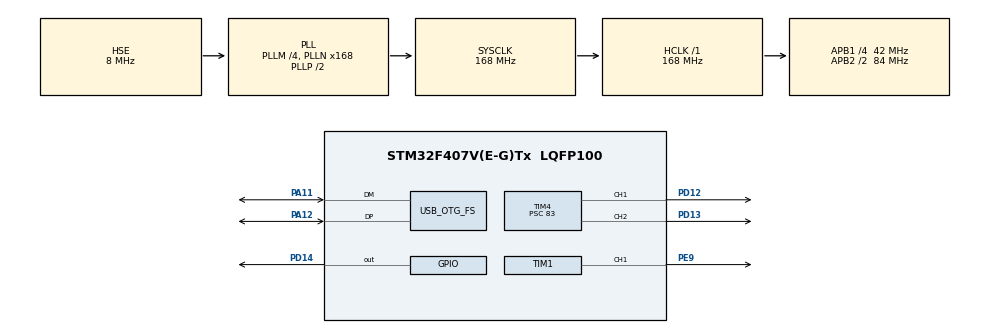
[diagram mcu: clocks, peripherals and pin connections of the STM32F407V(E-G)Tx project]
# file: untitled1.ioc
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Mcu.Family=STM32F4
Mcu.Name=STM32F407V(E-G)Tx
Mcu.Package=LQFP100
NVIC.OTG_FS_IRQn=true\:0\:0\:false\:false\:true\:false\:true
NVIC.PriorityGroup=NVIC_PRIORITYGROUP_4
PA11.Mode=Device_Only
PA11.Signal=USB_OTG_FS_DM
PA12.Mode=Device_Only
PA12.Signal=USB_OTG_FS_DP
PD12.GPIO_Speed=GPIO_SPEED_FREQ_LOW
PD12.Signal=S_TIM4_CH1
PD13.Signal=S_TIM4_CH2
PD14.GPIO_PuPd=GPIO_PULLUP
PD14.Signal=GPIO_Output
PE9.GPIO_Speed=GPIO_SPEED_FREQ_HIGH
PE9.Signal=S_TIM1_CH1
PH0-OSC_IN.Mode=HSE-External-Oscillator
PH0-OSC_IN.Signal=RCC_OSC_IN
PH1-OSC_OUT.Mode=HSE-External-Oscillator
PH1-OSC_OUT.Signal=RCC_OSC_OUT
ProjectManager.HeapSize=0x200
ProjectManager.StackSize=0x400
ProjectManager.TargetToolchain=SW4STM32
RCC.48MHZClocksFreq_Value=48000000
RCC.AHBFreq_Value=168000000
RCC.APB1CLKDivider=RCC_HCLK_DIV4
RCC.APB1Freq_Value=42000000
RCC.APB1TimFreq_Value=84000000
RCC.APB2CLKDivider=RCC_HCLK_DIV2
RCC.APB2Freq_Value=84000000
RCC.APB2TimFreq_Value=168000000
RCC.CortexFreq_Value=168000000
RCC.HCLKFreq_Value=168000000
RCC.HSE_VALUE=8000000
RCC.HSI_VALUE=16000000
RCC.LSE_VALUE=32768
RCC.PLLM=4
RCC.PLLN=168
RCC.PLLQ=7
RCC.SYSCLKFreq_VALUE=168000000
RCC.SYSCLKSource=RCC_SYSCLKSOURCE_PLLCLK
RCC.VCOOutputFreq_Value=336000000
SH.S_TIM1_CH1.0=TIM1_CH1,PWM Generation1 CH1
SH.S_TIM4_CH1.0=TIM4_CH1,PWM Generation1 CH1
SH.S_TIM4_CH2.0=TIM4_CH2,PWM Generation2 CH2
TIM1.Channel-PWM\ Generation1\ CH1=TIM_CHANNEL_1
TIM1.Period=65535
TIM4.Channel-PWM\ Generation1\ CH1=TIM_CHANNEL_1
TIM4.Channel-PWM\ Generation2\ CH2=TIM_CHANNEL_2
TIM4.Period=19999
TIM4.Prescaler=83
USB_DEVICE.APP_RX_DATA_SIZE-CDC_FS=64
USB_DEVICE.APP_TX_DATA_SIZE-CDC_FS=64
USB_DEVICE.CLASS_NAME_FS=CDC
USB_DEVICE.VirtualMode-CDC_FS=Cdc
USB_DEVICE.VirtualModeFS=Cdc_FS
USB_OTG_FS.VirtualMode=Device_Only
VP_TIM1_VS_ClockSourceINT.Mode=Internal
VP_TIM4_VS_ClockSourceINT.Mode=Internal
VP_USB_DEVICE_VS_USB_DEVICE_CDC_FS.Mode=CDC_FS
board=custom

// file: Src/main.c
/* USER CODE BEGIN Header */
/**
  ******************************************************************************
  * @file           : main.c
  * @brief          : Main program body
  ******************************************************************************
  * @attention
  *
  * <h2><center>&copy; Copyright (c) 2019 STMicroelectronics.
  * All rights reserved.</center></h2>
  *
  * This software component is licensed by ST under Ultimate Liberty license
  * SLA0044, the "License"; You may not use this file except in compliance with
  * the License. You may obtain a copy of the License at:
  *                             www.st.com/SLA0044
  *
  ******************************************************************************
  */
/* USER CODE END Header */

#include "main.h"
#include "usb_device.h"

/* USER CODE BEGIN Includes */
#include "usbd_cdc_if.h"
/* USER CODE END Includes */

TIM_HandleTypeDef htim1;
TIM_HandleTypeDef htim4;

/* USER CODE BEGIN PV */
uint8_t data_rx[8];
/* USER CODE END PV */

void SystemClock_Config(void);
static void MX_GPIO_Init(void);
static void MX_TIM1_Init(void);
static void MX_TIM4_Init(void);

/* USER CODE BEGIN 0 */
int st_min = 1068 + 1;
int st_max = 1775 - 1;
int st_mid = 1415;
int th_min = 1232 + 1;
int th_max = 1735 - 1;
int th_mid = 1512; //rev minimum 29%; fwd minimum 4%
int waiting = 0;

void fwd(float persent, double plavn)
{
    int znach = (th_mid + (th_max - th_mid) * persent);
    if (plavn == 0)
    {
        TIM4->CCR1 = znach;
    }
    else
    {
        while (TIM4->CCR1 < znach)
        {
            TIM4->CCR1 = TIM4->CCR1 + 1;
            HAL_Delay(plavn);
            waiting = waiting + plavn;
        }
    }
}

void rev(float persent, double plavn)
{
    int znach = (th_mid - (th_mid - th_min) * persent);
    if (plavn == 0)
    {
        TIM4->CCR1 = znach;
    }
    else
    {
        while (TIM4->CCR1 > znach)
        {
            TIM4->CCR1 = TIM4->CCR1 - 1;
            HAL_Delay(plavn);
            waiting = waiting + plavn;
        }
    }
}

void left(int persent, double plavn)
{
    int znach = (st_mid - (st_mid - st_min) * persent);
    TIM4->CCR2 = znach;
    if (plavn == 0)
    {
        TIM4->CCR2 = znach;
    }
    else
    {
        while (TIM4->CCR2 > znach)
        {
            TIM4->CCR2 = TIM4->CCR2 - 1;
            HAL_Delay(plavn);
            waiting = waiting + plavn;
        }
    }
}

void right(int persent, double plavn) {
    int znach = (st_mid + (st_max - st_mid) * persent);
    TIM4->CCR2 = znach;
    if (plavn == 0) {
        TIM4->CCR2 = znach;
    }
    else {
        while (TIM4->CCR2 < znach) {
            TIM4->CCR2 = TIM4->CCR2 + 1;
            HAL_Delay(plavn);
            waiting = waiting + plavn;
        }
    }
}

/* USER CODE END 0 */

int main(void)
{

  /* MCU Configuration--------------------------------------------------------*/

  /* Reset of all peripherals, Initializes the Flash interface and the Systick. */
  HAL_Init();

  /* Configure the system clock */
  SystemClock_Config();

  /* Initialize all configured peripherals */
  MX_GPIO_Init();
  MX_USB_DEVICE_Init();
  MX_TIM1_Init();
  MX_TIM4_Init();
  /* USER CODE BEGIN 2 */
       float _pwm_turn=0;
       float _pwm_run=0;
       uint8_t data_rx_turn[4];
       uint8_t data_rx_run[4];
       HAL_TIM_PWM_Start(&htim1,TIM_CHANNEL_1);
       HAL_TIM_PWM_Start(&htim4,TIM_CHANNEL_1);
       HAL_TIM_PWM_Start(&htim4,TIM_CHANNEL_2);

    union {
        //float turn;
        float run;
        unsigned char bytes_run[4];
    } thing;

  /* USER CODE END 2 */

  /* Infinite loop */
  /* USER CODE BEGIN WHILE */
  while (1) {
         for (int i = 0;i<4;i++){
             data_rx_turn[i]=data_rx[i];
         }
         for (int i = 4;i<8;i++){
             data_rx_run[i-4]=data_rx[i];
         }
         memcpy(&_pwm_turn, &data_rx_turn, sizeof(float));
         memcpy(&_pwm_run, &data_rx_run, sizeof(float));
         //thing.turn=_pwm_turn;
         thing.run=_pwm_run;
         CDC_Transmit_FS(thing.bytes_run, 4);

        if (_pwm_run>=0) {
            fwd(_pwm_run, 0);
            HAL_GPIO_TogglePin(GPIOD, GPIO_PIN_14);
        }
        else if (_pwm_run<0){
            fwd(0,0);
            _pwm_run=-1*_pwm_run;
            rev(_pwm_run,0);
            HAL_GPIO_TogglePin(GPIOD,GPIO_PIN_13);
        }

        if (_pwm_turn>=0){
            right(_pwm_turn,0);
        }
        else if (_pwm_turn<0) {
            _pwm_turn=-1*_pwm_turn;
            left(_pwm_turn,0);
        }

      /*  HAL_Delay(1000);
        fwd(5,0);
        HAL_Delay(1000);
        fwd(0,0);
        HAL_Delay(1000);
        rev(40,0);
        HAL_Delay(1000);
        fwd(0,0);
        HAL_Delay(1000);
        rev(30,0);
        HAL_Delay(1000);
        fwd(0,0);
        HAL_GPIO_TogglePin(GPIOD, GPIO_PIN_13);*/

     }

    /* USER CODE END WHILE */

}

void SystemClock_Config(void)
{
  RCC_OscInitTypeDef RCC_OscInitStruct = {0};
  RCC_ClkInitTypeDef RCC_ClkInitStruct = {0};

  /** Configure the main internal regulator output voltage
  */
  __HAL_RCC_PWR_CLK_ENABLE();
  __HAL_PWR_VOLTAGESCALING_CONFIG(PWR_REGULATOR_VOLTAGE_SCALE1);
  /** Initializes the CPU, AHB and APB busses clocks
  */
  RCC_OscInitStruct.OscillatorType = RCC_OSCILLATORTYPE_HSE;
  RCC_OscInitStruct.HSEState = RCC_HSE_ON;
  RCC_OscInitStruct.PLL.PLLState = RCC_PLL_ON;
  RCC_OscInitStruct.PLL.PLLSource = RCC_PLLSOURCE_HSE;
  RCC_OscInitStruct.PLL.PLLM = 4;
  RCC_OscInitStruct.PLL.PLLN = 168;
  RCC_OscInitStruct.PLL.PLLP = RCC_PLLP_DIV2;
  RCC_OscInitStruct.PLL.PLLQ = 7;
  if (HAL_RCC_OscConfig(&RCC_OscInitStruct) != HAL_OK)
  {
    Error_Handler();
  }
  /** Initializes the CPU, AHB and APB busses clocks
  */
  RCC_ClkInitStruct.ClockType = RCC_CLOCKTYPE_HCLK|RCC_CLOCKTYPE_SYSCLK
                              |RCC_CLOCKTYPE_PCLK1|RCC_CLOCKTYPE_PCLK2;
  RCC_ClkInitStruct.SYSCLKSource = RCC_SYSCLKSOURCE_PLLCLK;
  RCC_ClkInitStruct.AHBCLKDivider = RCC_SYSCLK_DIV1;
  RCC_ClkInitStruct.APB1CLKDivider = RCC_HCLK_DIV4;
  RCC_ClkInitStruct.APB2CLKDivider = RCC_HCLK_DIV2;

  if (HAL_RCC_ClockConfig(&RCC_ClkInitStruct, FLASH_LATENCY_5) != HAL_OK)
  {
    Error_Handler();
  }
}

static void MX_TIM1_Init(void)
{

  TIM_ClockConfigTypeDef sClockSourceConfig = {0};
  TIM_MasterConfigTypeDef sMasterConfig = {0};
  TIM_OC_InitTypeDef sConfigOC = {0};
  TIM_BreakDeadTimeConfigTypeDef sBreakDeadTimeConfig = {0};

  htim1.Instance = TIM1;
  htim1.Init.Prescaler = 0;
  htim1.Init.CounterMode = TIM_COUNTERMODE_UP;
  htim1.Init.Period = 65535;
  htim1.Init.ClockDivision = TIM_CLOCKDIVISION_DIV1;
  htim1.Init.RepetitionCounter = 0;
  htim1.Init.AutoReloadPreload = TIM_AUTORELOAD_PRELOAD_DISABLE;
  if (HAL_TIM_Base_Init(&htim1) != HAL_OK)
  {
    Error_Handler();
  }
  sClockSourceConfig.ClockSource = TIM_CLOCKSOURCE_INTERNAL;
  if (HAL_TIM_ConfigClockSource(&htim1, &sClockSourceConfig) != HAL_OK)
  {
    Error_Handler();
  }
  if (HAL_TIM_PWM_Init(&htim1) != HAL_OK)
  {
    Error_Handler();
  }
  sMasterConfig.MasterOutputTrigger = TIM_TRGO_RESET;
  sMasterConfig.MasterSlaveMode = TIM_MASTERSLAVEMODE_DISABLE;
  if (HAL_TIMEx_MasterConfigSynchronization(&htim1, &sMasterConfig) != HAL_OK)
  {
    Error_Handler();
  }
  sConfigOC.OCMode = TIM_OCMODE_PWM1;
  sConfigOC.Pulse = 0;
  sConfigOC.OCPolarity = TIM_OCPOLARITY_HIGH;
  sConfigOC.OCNPolarity = TIM_OCNPOLARITY_HIGH;
  sConfigOC.OCFastMode = TIM_OCFAST_DISABLE;
  sConfigOC.OCIdleState = TIM_OCIDLESTATE_RESET;
  sConfigOC.OCNIdleState = TIM_OCNIDLESTATE_RESET;
  if (HAL_TIM_PWM_ConfigChannel(&htim1, &sConfigOC, TIM_CHANNEL_1) != HAL_OK)
  {
    Error_Handler();
  }
  sBreakDeadTimeConfig.OffStateRunMode = TIM_OSSR_DISABLE;
  sBreakDeadTimeConfig.OffStateIDLEMode = TIM_OSSI_DISABLE;
  sBreakDeadTimeConfig.LockLevel = TIM_LOCKLEVEL_OFF;
  sBreakDeadTimeConfig.DeadTime = 0;
  sBreakDeadTimeConfig.BreakState = TIM_BREAK_DISABLE;
  sBreakDeadTimeConfig.BreakPolarity = TIM_BREAKPOLARITY_HIGH;
  sBreakDeadTimeConfig.AutomaticOutput = TIM_AUTOMATICOUTPUT_DISABLE;
  if (HAL_TIMEx_ConfigBreakDeadTime(&htim1, &sBreakDeadTimeConfig) != HAL_OK)
  {
    Error_Handler();
  }
  HAL_TIM_MspPostInit(&htim1);

}

static void MX_TIM4_Init(void)
{

  TIM_ClockConfigTypeDef sClockSourceConfig = {0};
  TIM_MasterConfigTypeDef sMasterConfig = {0};
  TIM_OC_InitTypeDef sConfigOC = {0};

  htim4.Instance = TIM4;
  htim4.Init.Prescaler = 83;
  htim4.Init.CounterMode = TIM_COUNTERMODE_UP;
  htim4.Init.Period = 19999;
  htim4.Init.ClockDivision = TIM_CLOCKDIVISION_DIV1;
  htim4.Init.AutoReloadPreload = TIM_AUTORELOAD_PRELOAD_DISABLE;
  if (HAL_TIM_Base_Init(&htim4) != HAL_OK)
  {
    Error_Handler();
  }
  sClockSourceConfig.ClockSource = TIM_CLOCKSOURCE_INTERNAL;
  if (HAL_TIM_ConfigClockSource(&htim4, &sClockSourceConfig) != HAL_OK)
  {
    Error_Handler();
  }
  if (HAL_TIM_PWM_Init(&htim4) != HAL_OK)
  {
    Error_Handler();
  }
  sMasterConfig.MasterOutputTrigger = TIM_TRGO_RESET;
  sMasterConfig.MasterSlaveMode = TIM_MASTERSLAVEMODE_DISABLE;
  if (HAL_TIMEx_MasterConfigSynchronization(&htim4, &sMasterConfig) != HAL_OK)
  {
    Error_Handler();
  }
  sConfigOC.OCMode = TIM_OCMODE_PWM1;
  sConfigOC.Pulse = 0;
  sConfigOC.OCPolarity = TIM_OCPOLARITY_HIGH;
  sConfigOC.OCFastMode = TIM_OCFAST_DISABLE;
  if (HAL_TIM_PWM_ConfigChannel(&htim4, &sConfigOC, TIM_CHANNEL_1) != HAL_OK)
  {
    Error_Handler();
  }
  if (HAL_TIM_PWM_ConfigChannel(&htim4, &sConfigOC, TIM_CHANNEL_2) != HAL_OK)
  {
    Error_Handler();
  }
  HAL_TIM_MspPostInit(&htim4);

}

static void MX_GPIO_Init(void)
{
  GPIO_InitTypeDef GPIO_InitStruct = {0};

  /* GPIO Ports Clock Enable */
  __HAL_RCC_GPIOH_CLK_ENABLE();
  __HAL_RCC_GPIOE_CLK_ENABLE();
  __HAL_RCC_GPIOD_CLK_ENABLE();
  __HAL_RCC_GPIOA_CLK_ENABLE();

  /*Configure GPIO pin Output Level */
  HAL_GPIO_WritePin(GPIOD, GPIO_PIN_14, GPIO_PIN_RESET);

  /*Configure GPIO pin : PD14 */
  GPIO_InitStruct.Pin = GPIO_PIN_14;
  GPIO_InitStruct.Mode = GPIO_MODE_OUTPUT_PP;
  GPIO_InitStruct.Pull = GPIO_PULLUP;
  GPIO_InitStruct.Speed = GPIO_SPEED_FREQ_LOW;
  HAL_GPIO_Init(GPIOD, &GPIO_InitStruct);

}

void Error_Handler(void)
{
}

/************************ (C) COPYRIGHT STMicroelectronics *****END OF FILE****/
